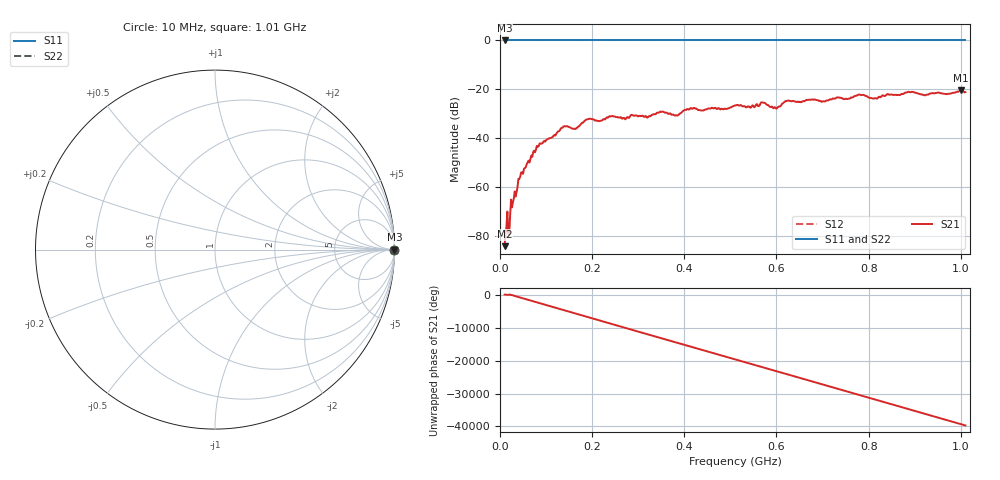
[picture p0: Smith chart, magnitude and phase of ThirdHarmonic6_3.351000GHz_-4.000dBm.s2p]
! 8/17/2025 10:34:35 AM
! C:\ANRITSUVNA\TEMP\TEMP.S2P
! CHANNEL.1
! TR.MEASUREMENT
! RAW.DATA
! RF.CORRECTION.OFF
! AVERAGING.OFF
! IF.BANDWIDTH: 5KHZ
! SWEEPTYPE:  FREQ.SWEEP(Linear)
! Reference Plane Port Info
! PORT:  PORT1  PORT2
! DISTANCE:  0  m  0  m
! TIME:  0  s  0  s
! PHASE.OFFSET:  0  deg.  0  deg.
! LOSS:  0  dB  0  dB
! REF.LOSS:  0  dB  0  dB
! REF.FREQ:  0  Hz  0  Hz
! Power Info
! POWER:  -20  dBm  -20  dBm
! EFF.POWER:  -20  dBm  -20  dBm
! SOURCE.ATTEN:  0  dB  0  dB
! TEST.ATTEN:  0  dB  0  dB
# GHZ S RI R 50.0
! FREQ.GHZ  S11RE  S11IM  S21RE  S21IM  S12RE  S12IM  S22RE  S22IM
!; PortSelection: Port_12
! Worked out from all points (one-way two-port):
!   501 points, 10 MHz to 1.01 GHz, reference 50 ohm
!   highest |S21| = -20.51 dB at 1 GHz (marker M1); lowest = -84.4 dB at 10 MHz (marker M2)
!   lowest |S11| = 0.0 dB at 10 MHz (marker M3)
!   |S11| at or under -10 dB: nowhere
!   |S22| runs from 0.0 to 0.0 dB; largest |S21 - S12| = 1.1
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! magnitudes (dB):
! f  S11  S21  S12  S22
! 10 MHz  0.0  -84.4  0.0  0.0
! 22 MHz  0.0  -71.7  0.0  0.0
! 28 MHz  0.0  -66.4  0.0  0.0
! 44 MHz  0.0  -55.8  0.0  0.0
! 76 MHz  0.0  -45.8  0.0  0.0
! 136 MHz  0.0  -35.7  0.0  0.0
! 162 MHz  0.0  -36.2  0.0  0.0
! 178 MHz  0.0  -33.8  0.0  0.0
! 192 MHz  0.0  -32.2  0.0  0.0
! 322 MHz  0.0  -31.3  0.0  0.0
! 344 MHz  0.0  -29.6  0.0  0.0
! 382 MHz  0.0  -30.6  0.0  0.0
! 418 MHz  0.0  -28.0  0.0  0.0
! 510 MHz  0.0  -26.6  0.0  0.0
! 570 MHz  0.0  -25.5  0.0  0.0
! 598 MHz  0.0  -27.6  0.0  0.0
! 624 MHz  0.0  -24.7  0.0  0.0
! 678 MHz  0.0  -24.2  0.0  0.0
! 814 MHz  0.0  -23.7  0.0  0.0
! 844 MHz  0.0  -22.2  0.0  0.0
! 1 GHz  0.0  -20.5  0.0  0.0
! 1.01 GHz  0.0  -21.2  0.0  0.0
